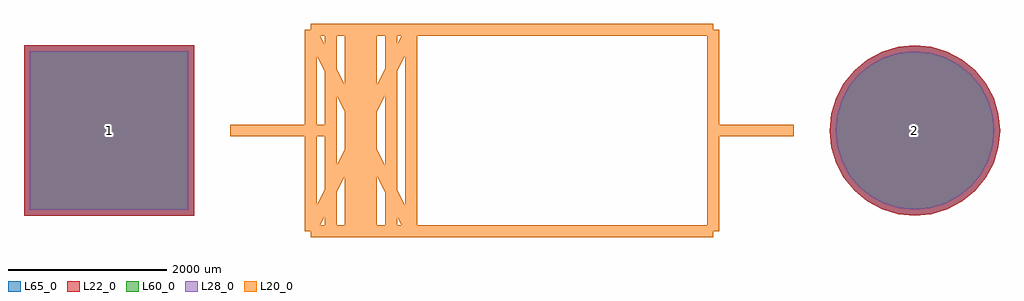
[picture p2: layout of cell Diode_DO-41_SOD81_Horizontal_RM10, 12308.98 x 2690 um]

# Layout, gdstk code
import gdstk
lib = gdstk.Library(unit=1e-6, precision=1e-09)
def R(c, l, rs):  # rectangles x0, y0, x1, y1
    for r in rs: c.add(gdstk.rectangle(r[:2], r[2:], *l))
def P(c, l, *ps):  # polygons
    for p in ps: c.add(gdstk.Polygon(p, *l))
L20_0 = (20, 0)
L22_0 = (22, 0)
L28_0 = (28, 0)
L60_0 = (60, 0)
L65_0 = (65, 0)

diode_do_41_sod81_horizo = lib.new_cell('Diode_DO-41_SOD81_Horizontal_RM10')
R(diode_do_41_sod81_horizo, L22_0, [(-1074.49,-1071.95,1074.49,1077.03)])
P(diode_do_41_sod81_horizo, L22_0, [(11234.49,2.54),(11213.844,212.163),(11152.699,413.73),(11053.406,599.495),(10919.779,762.319),(10756.955,895.946),(10571.19,995.239),(10369.623,1056.384),(10160,1077.03),(9950.377,1056.384),(9748.81,995.239),(9563.045,895.946),(9400.221,762.319),(9266.594,599.495),(9167.301,413.73),(9106.156,212.163),(9085.51,2.54),(9106.156,-207.083),(9167.301,-408.65),(9266.594,-594.415),(9400.221,-757.239),(9563.045,-890.866),(9748.81,-990.159),(9950.377,-1051.304),(10160,-1071.95),(10369.623,-1051.304),(10571.19,-990.159),(10756.955,-890.866),(10919.779,-757.239),(11053.406,-594.415),(11152.699,-408.65),(11213.844,-207.083)])
R(diode_do_41_sod81_horizo, L28_0, [(-999.49,-996.95,999.49,1002.03)])
P(diode_do_41_sod81_horizo, L28_0, [(11159.49,2.54),(11140.285,197.531),(11083.408,385.028),(10991.046,557.827),(10866.746,709.286),(10715.287,833.586),(10542.488,925.948),(10354.991,982.825),(10160,1002.03),(9965.009,982.825),(9777.512,925.948),(9604.713,833.586),(9453.254,709.286),(9328.954,557.827),(9236.592,385.028),(9179.715,197.531),(9160.51,2.54),(9179.715,-192.451),(9236.592,-379.948),(9328.954,-552.747),(9453.254,-704.206),(9604.713,-828.506),(9777.512,-920.868),(9965.009,-977.745),(10160,-996.95),(10354.991,-977.745),(10542.488,-920.868),(10715.287,-828.506),(10866.746,-704.206),(10991.046,-552.747),(11083.408,-379.948),(11140.285,-192.451)])
R(diode_do_41_sod81_horizo, L60_0, [(-999.49,-996.95,999.49,1002.03)])
P(diode_do_41_sod81_horizo, L60_0, [(11159.49,2.54),(11140.285,197.531),(11083.408,385.028),(10991.046,557.827),(10866.746,709.286),(10715.287,833.586),(10542.488,925.948),(10354.991,982.825),(10160,1002.03),(9965.009,982.825),(9777.512,925.948),(9604.713,833.586),(9453.254,709.286),(9328.954,557.827),(9236.592,385.028),(9179.715,197.531),(9160.51,2.54),(9179.715,-192.451),(9236.592,-379.948),(9328.954,-552.747),(9453.254,-704.206),(9604.713,-828.506),(9777.512,-920.868),(9965.009,-977.745),(10160,-996.95),(10354.991,-977.745),(10542.488,-920.868),(10715.287,-828.506),(10866.746,-704.206),(10991.046,-552.747),(11083.408,-379.948),(11140.285,-192.451)])
R(diode_do_41_sod81_horizo, L65_0, [(-1074.49,-1071.95,1074.49,1077.03)])
P(diode_do_41_sod81_horizo, L65_0, [(11234.49,2.54),(11213.844,212.163),(11152.699,413.73),(11053.406,599.495),(10919.779,762.319),(10756.955,895.946),(10571.19,995.239),(10369.623,1056.384),(10160,1077.03),(9950.377,1056.384),(9748.81,995.239),(9563.045,895.946),(9400.221,762.319),(9266.594,599.495),(9167.301,413.73),(9106.156,212.163),(9085.51,2.54),(9106.156,-207.083),(9167.301,-408.65),(9266.594,-594.415),(9400.221,-757.239),(9563.045,-890.866),(9748.81,-990.159),(9950.377,-1051.304),(10160,-1071.95),(10369.623,-1051.304),(10571.19,-990.159),(10756.955,-890.866),(10919.779,-757.239),(11053.406,-594.415),(11152.699,-408.65),(11213.844,-207.083)])
diode_do_41_sod81_horizo.add(gdstk.FlexPath([(7620,-1267.46),(2540,-1267.46)], 149.998, ends="flush", simple_path=True, layer=20, datatype=0))  # L20_0
diode_do_41_sod81_horizo.add(gdstk.FlexPath([(7620,1272.54),(7620,-1267.46)], 149.998, ends="flush", simple_path=True, layer=20, datatype=0))  # L20_0
diode_do_41_sod81_horizo.add(gdstk.FlexPath([(2540,1272.54),(7620,1272.54)], 149.998, ends="flush", simple_path=True, layer=20, datatype=0))  # L20_0
diode_do_41_sod81_horizo.add(gdstk.FlexPath([(2540,-1267.46),(2540,1272.54)], 149.998, ends="flush", simple_path=True, layer=20, datatype=0))  # L20_0
diode_do_41_sod81_horizo.add(gdstk.FlexPath([(3175,1272.54),(3175,-1267.46)], 149.998, ends="flush", simple_path=True, layer=20, datatype=0))  # L20_0
diode_do_41_sod81_horizo.add(gdstk.FlexPath([(3810,1272.54),(3810,-1267.46)], 149.998, ends="flush", simple_path=True, layer=20, datatype=0))  # L20_0
diode_do_41_sod81_horizo.add(gdstk.FlexPath([(2540,1272.54),(3810,-1267.46)], 149.998, ends="flush", simple_path=True, layer=20, datatype=0))  # L20_0
diode_do_41_sod81_horizo.add(gdstk.FlexPath([(3810,1272.54),(2540,-1267.46)], 149.998, ends="flush", simple_path=True, layer=20, datatype=0))  # L20_0
diode_do_41_sod81_horizo.add(gdstk.FlexPath([(2794,1272.54),(2794,-1267.46)], 149.998, ends="flush", simple_path=True, layer=20, datatype=0))  # L20_0
diode_do_41_sod81_horizo.add(gdstk.FlexPath([(3556,1272.54),(3556,-1267.46)], 149.998, ends="flush", simple_path=True, layer=20, datatype=0))  # L20_0
diode_do_41_sod81_horizo.add(gdstk.FlexPath([(3302,1272.54),(3302,-1267.46)], 149.998, ends="flush", simple_path=True, layer=20, datatype=0))  # L20_0
diode_do_41_sod81_horizo.add(gdstk.FlexPath([(3048,1272.54),(3048,-1267.46)], 149.998, ends="flush", simple_path=True, layer=20, datatype=0))  # L20_0
diode_do_41_sod81_horizo.add(gdstk.FlexPath([(2794,2.54),(1524,2.54)], 149.998, ends="flush", simple_path=True, layer=20, datatype=0))  # L20_0
diode_do_41_sod81_horizo.add(gdstk.FlexPath([(7620,2.54),(8636,2.54)], 149.998, ends="flush", simple_path=True, layer=20, datatype=0))  # L20_0
diode_do_41_sod81_horizo.add(gdstk.Label('1', (0,2.54), layer=28, texttype=0))
diode_do_41_sod81_horizo.add(gdstk.Label('2', (10160,2.54), layer=28, texttype=0))
diode_do_41_sod81_horizo.add(gdstk.Label('type', (4371.34,3558.54), layer=9, texttype=0))
diode_do_41_sod81_horizo.add(gdstk.Label('devicename', (5387.34,-2537.46), layer=9, texttype=0))

lib.write_gds('Diode_DO-41_SOD81_Horizontal_RM10.gds')
